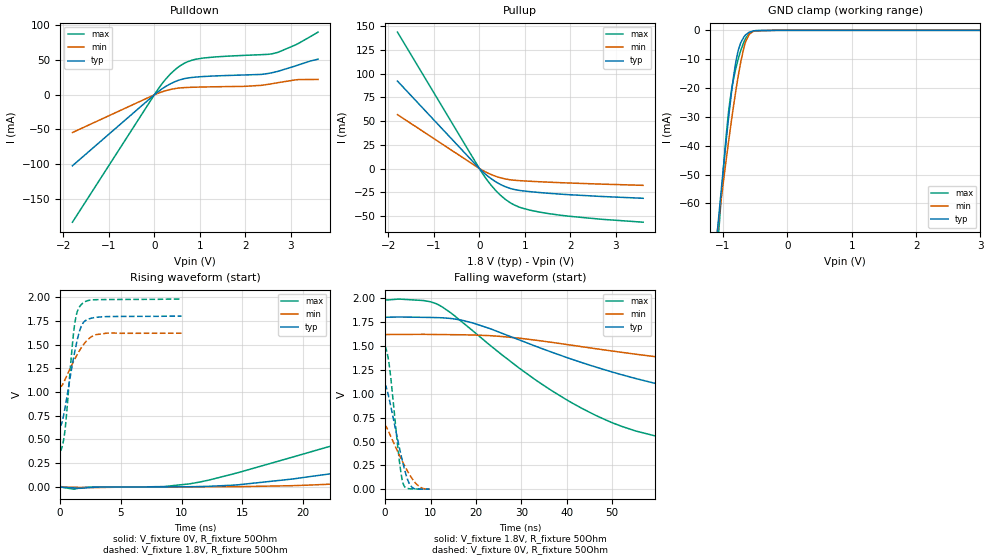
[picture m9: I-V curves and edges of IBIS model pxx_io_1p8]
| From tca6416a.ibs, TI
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|   pxx_io_1p8 Model
[Model]   pxx_io_1p8
Model_type   I/O
Polarity   Non-Inverting
Enable   Active-Low
Vinl = 0.54
Vinh = 1.26
Vmeas = 0.9
Vref = 0
Cref = 50pF
Rref = 100
|   typ   min   max
|   (nom PVT)   (fast PVT)   (slow PVT)
C_comp   2.614e-12   2.515e-12   2.773e-12
[Model spec]
|subparameter
Vinl   0.54   0.486   0.594
Vinh   1.26   1.134   1.386
| Where nom  PVT is Nominal Process, 1.8V, 27C
|   Fast PVT is Strong Process,  1.98V, -40C
|   Slow PVT is Weak Process,   1.62V, 106C
[Voltage Range]   1.8   1.62   1.98
|Junction Temperature
[Temperature Range]   27   106   -40
[Pullup Reference]   1.8   1.62   1.98
[Pulldown Reference]   0   0   0
[Power Clamp Reference]   1.8   1.62   1.98
[GND Clamp Reference]   0   0   0
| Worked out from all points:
|   slope of the pulldown table from 0 to 0.27 V, typ, clamps not added: 21.1 ohm
|   slope of the pullup table from 0 to 0.27 V, typ, clamps not added: 24.3 ohm
|   GND clamp passes 1 mA (typ) near -0.61 V on its own axis
|   falling waveform, V_fixture 1.8V, R_fixture 50Ohm: 20-80 % time 56.8ns typ, 74.2ns min, 30.5ns max; typ from 1.8 V to 0.648 V
|   rising waveform, V_fixture 0V, R_fixture 50Ohm: 20-80 % time 54.2ns typ, 65.4ns min, 33.2ns max; typ from 0 V to 1.08 V
|   rising waveform, V_fixture 1.8V, R_fixture 50Ohm: 20-80 % time 980ps typ, 1.42ns min, 656ps max; typ from 0.647 V to 1.8 V
|   falling waveform, V_fixture 0V, R_fixture 50Ohm: 20-80 % time 2.95ns typ, 4.11ns min, 1.93ns max; typ from 1.08 V to 0.002 V
[Pulldown]
|   Voltage   I(typ)   I(min)   I(max)
-1.8V     -102.3mA   -54.38mA   -183.6mA
82.98mV   4.412mA    2.224mA    8.201mA
262.8mV   12.54mA    6.159mA    23.54mA
519.8mV   20.63mA    9.579mA    39.6mA
742.3mV   24.27mA    10.64mA    47.98mA
1.049V    26.23mA    11.22mA    52.72mA
1.982V    28.57mA    12.17mA    56.85mA
2.354V    29.4mA     13.68mA    57.85mA
2.585V    31.78mA    15.94mA    59.01mA
2.72V     33.88mA    17.5mA     61.26mA
3.104V    41.62mA    21.54mA    71.93mA
3.6V      51.39mA    22.12mA    90.39mA
[GND Clamp]
|   Voltage   I(typ)   I(min)   I(max)
-1.8V     -261.9mA   -217.4mA   -330.6mA
-1.091V   -70.29mA   -70.05mA   -77.17mA
-1.036V   -57.15mA   -59.87mA   -60.03mA
-970.4mV  -42.27mA   -48.19mA   -41.37mA
-905.4mV  -28.54mA   -37.12mA   -26.54mA
-869.4mV  -21.63mA   -31.27mA   -20.81mA
-808mV    -11.81mA   -21.89mA   -13.84mA
-757.8mV  -6.46mA    -14.98mA   -9.405mA
-675.7mV  -2.27mA    -5.975mA   -3.993mA
-593.1mV  -654.4uA   -1.345mA   -1.095mA
-180mV    -17.56nA   -82.52nA   0A
3.6V      0A         0A         0A
[Pullup]
|   Voltage   I(typ)   I(min)   I(max)
-1.8V     92.26mA    56.86mA    143.9mA
37.08mV   -1.752mA   -1.048mA   -2.827mA
255.8mV   -10.63mA   -6.291mA   -17.45mA
383.8mV   -14.7mA    -8.612mA   -24.4mA
568.1mV   -19.13mA   -10.99mA   -32.4mA
720.7mV   -21.58mA   -12.13mA   -37.27mA
898.9mV   -23.22mA   -12.84mA   -41.09mA
1.489V    -26.01mA   -14.34mA   -47.31mA
2.681V    -29.47mA   -16.46mA   -53.53mA
3.6V      -31.41mA   -17.75mA   -56.62mA
[POWER Clamp]
|   Voltage   I(typ)   I(min)   I(max)
-1.8V     0A         0A         0A
0V        0A         0A         0A
3.6V      0A         0A         0A
[Ramp]
R_load = 50
|   typ   min   max
dV/dt_r   0.646165/5.41556e-08   0.388394/6.53495e-08   0.889067/3.3003e-08
dV/dt_f   0.689988/5.66127e-08   0.332/7.27839e-08   0.957943/3.04717e-08
[Falling Waveform]
V_fixture = 1.8V
V_fixture_min = 1.62V
V_fixture_max = 1.98V
R_fixture = 50Ohm
|   Time   V(typ)   V(min)   V(max)
0s        1.8V       1.62V      1.98V
11.32ns   1.799V     1.622V     1.944V
19.24ns   1.744V     1.617V     1.664V
33.04ns   1.501V     1.563V     1.149V
43.5ns    1.325V     1.493V     843.9mV
55.18ns   1.161V     1.416V     611.1mV
68.3ns    1.017V     1.341V     490.8mV
98.4ns    812.4mV    1.219V     411mV
129ns     718.8mV    1.147V     391.6mV
290ns     648mV      1.062V     383.4mV
[Rising Waveform]
V_fixture = 0V
V_fixture_min = 0V
V_fixture_max = 0V
R_fixture = 50Ohm
|   Time   V(typ)   V(min)   V(max)
0s        927.9pV    15.97nV    452.6pV
10.64ns   31.26uV    -779.5uV   30.39mV
19.12ns   81.46mV    11.16mV    312.4mV
30.5ns    287.9mV    95.62mV    703mV
40.56ns   454.8mV    188.1mV    972.4mV
54.2ns    636.3mV    298.6mV    1.222V
68.5ns    775.7mV    390.1mV    1.359V
93.74ns   928.2mV    499.9mV    1.442V
129.9ns   1.025V     583.1mV    1.472V
250ns     1.077V     647.3mV    1.482V
[Rising Waveform]
V_fixture = 1.8V
V_fixture_min = 1.62V
V_fixture_max = 1.98V
R_fixture = 50Ohm
|   Time   V(typ)   V(min)   V(max)
0s        646.8mV    1.058V     383.3mV
200ps     702.6mV    1.078V     440.6mV
400ps     831.5mV    1.13V      598mV
940ps     1.242V     1.279V     1.405V
1.16ns    1.397V     1.336V     1.681V
1.38ns    1.534V     1.389V     1.836V
1.66ns    1.667V     1.45V      1.91V
2.04ns    1.749V     1.519V     1.952V
2.92ns    1.787V     1.604V     1.973V
9.99ns    1.8V       1.62V      1.98V
[Falling Waveform]
V_fixture = 0V
V_fixture_min = 0V
V_fixture_max = 0V
R_fixture = 50Ohm
|   Time   V(typ)   V(min)   V(max)
0s        1.079V     652.3mV    1.482V
460ps     1.033V     634.1mV    1.422V
980ps     927.1mV    580.7mV    1.273V
3.06ns    451.7mV    365.3mV    324.5mV
3.6ns     336.1mV    312mV      137.2mV
3.98ns    260.5mV    275.8mV    57.51mV
5.06ns    86.89mV    179.3mV    8.239mV
5.9ns     21.46mV    114.4mV    4.799mV
7.86ns    1.305mV    18.54mV    2.289mV
9.75ns    1.822mV    3.001mV    1.467mV
